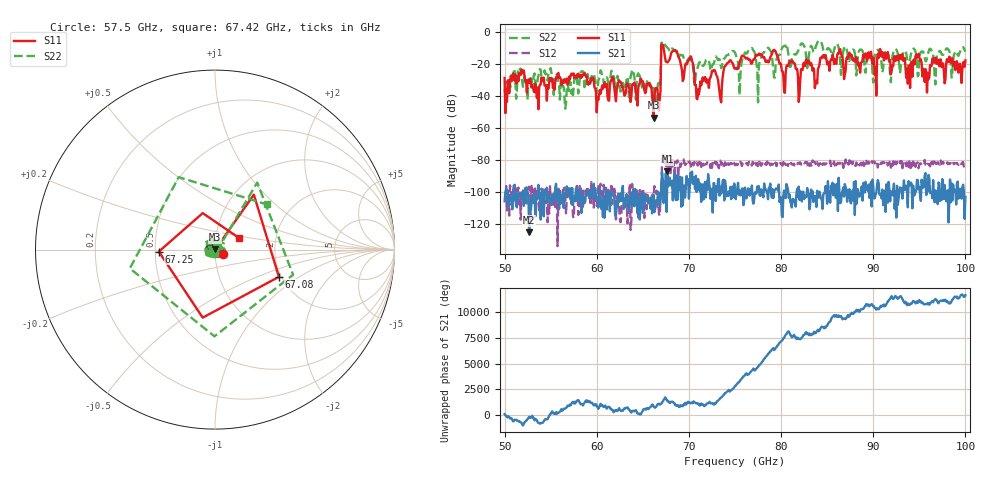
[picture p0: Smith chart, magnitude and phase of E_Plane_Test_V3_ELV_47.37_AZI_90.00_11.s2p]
! 11/26/2026 4:06:35 PM
! C:\ANRITSUVNA\TEMP\TEMP.S2P
! CHANNEL.1
! TR.MEASUREMENT
! RAW.DATA
# HZ S RI R 50.0
! FREQ.HZ  S11RE  S11IM  S21RE  S21IM  S12RE  S12IM  S22RE  S22IM
!; PortSelection: Port_12
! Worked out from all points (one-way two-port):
!   601 points, 50 GHz to 100 GHz, reference 50 ohm
!   highest |S21| = -87.17 dB at 67.67 GHz (marker M1); lowest = -125.4 dB at 52.67 GHz (marker M2)
!   lowest |S11| = -53.9 dB at 66.17 GHz (marker M3), VSWR 1.00, Z = 50.1 + j0.147 ohm
!   |S11| at or under -10 dB: start of sweep to 67 GHz; 67.25 GHz to end of sweep
!   |S22| runs from -48.2 to -5.6 dB; largest |S21 - S12| = 0.00016
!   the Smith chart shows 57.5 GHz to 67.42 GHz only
!   S11 on the Smith chart (normalised r, x): 57.5 GHz: 1.09, -0.05; 67.08 GHz: 1.94, -0.69; 67.25 GHz: 0.52, -0.01; 67.42 GHz: 1.29, +0.17
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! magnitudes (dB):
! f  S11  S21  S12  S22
! 50 GHz  -29.0  -106.0  -104.7  -35.8
! 52.67 GHz  -32.1  -125.4  -96.8  -31.6
! 57.5 GHz  -26.1  -102.8  -116.5  -34.7
! 58.42 GHz  -27.1  -102.5  -107.3  -24.7
! 60.17 GHz  -42.8  -109.9  -97.5  -30.4
! 66.17 GHz  -53.9  -101.9  -104.3  -34.0
! 66.67 GHz  -41.5  -100.1  -104.8  -31.7
! 67.08 GHz  -8.2  -87.8  -80.4  -6.8
! 67.25 GHz  -10.1  -107.1  -75.7  -6.3
! 67.42 GHz  -16.6  -97.9  -84.7  -8.3
! 67.67 GHz  -19.3  -87.2  -90.2  -10.2
! 70.25 GHz  -15.9  -91.7  -84.9  -18.8
! 70.92 GHz  -42.2  -96.8  -83.5  -23.0
! 75 GHz  -23.3  -99.9  -83.4  -13.0
! 79.25 GHz  -11.5  -99.2  -82.9  -28.8
! 80.25 GHz  -27.9  -102.0  -81.6  -9.3
! 83.42 GHz  -24.5  -99.7  -80.5  -10.8
! 91.67 GHz  -16.7  -93.8  -82.4  -15.2
! 93.75 GHz  -32.6  -109.7  -83.0  -21.4
! 94.83 GHz  -15.1  -92.8  -81.7  -27.9
! 95.83 GHz  -38.1  -100.4  -84.2  -16.5
! 100 GHz  -18.0  -103.1  -82.6  -12.6
